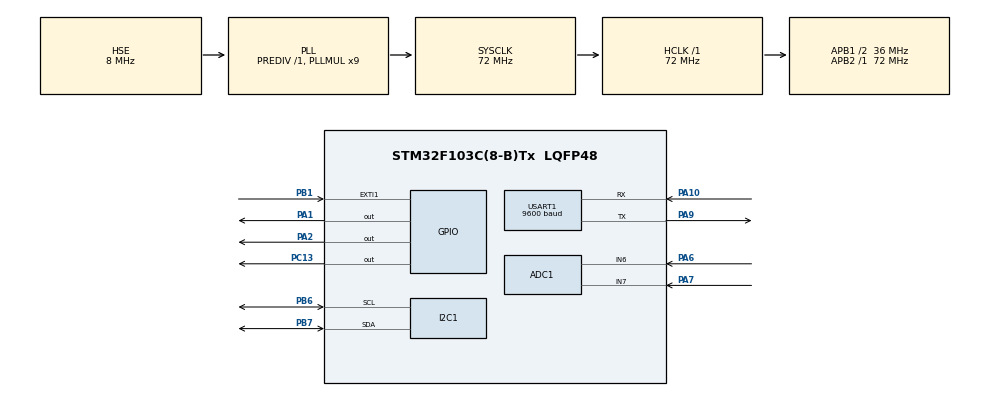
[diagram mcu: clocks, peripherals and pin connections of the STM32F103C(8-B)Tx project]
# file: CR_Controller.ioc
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ADC1.Channel-0\#ChannelRegularConversion=ADC_CHANNEL_6
ADC1.Channel-1\#ChannelRegularConversion=ADC_CHANNEL_7
ADC1.ContinuousConvMode=ENABLE
ADC1.NbrOfConversion=2
ADC1.NbrOfConversionFlag=1
ADC1.Rank-0\#ChannelRegularConversion=1
ADC1.Rank-1\#ChannelRegularConversion=2
ADC1.SamplingTime-0\#ChannelRegularConversion=ADC_SAMPLETIME_1CYCLE_5
ADC1.SamplingTime-1\#ChannelRegularConversion=ADC_SAMPLETIME_1CYCLE_5
ADC1.master=1
Dma.ADC1.0.Direction=DMA_PERIPH_TO_MEMORY
Dma.ADC1.0.Instance=DMA1_Channel1
Dma.ADC1.0.MemDataAlignment=DMA_MDATAALIGN_WORD
Dma.ADC1.0.MemInc=DMA_MINC_ENABLE
Dma.ADC1.0.Mode=DMA_CIRCULAR
Dma.ADC1.0.PeriphDataAlignment=DMA_PDATAALIGN_WORD
Dma.ADC1.0.PeriphInc=DMA_PINC_DISABLE
Dma.ADC1.0.Priority=DMA_PRIORITY_LOW
Dma.Request0=ADC1
Mcu.Family=STM32F1
Mcu.Name=STM32F103C(8-B)Tx
Mcu.Package=LQFP48
NVIC.DMA1_Channel1_IRQn=true\:0\:0\:false\:false\:true\:false\:true\:true
NVIC.EXTI1_IRQn=true\:0\:0\:false\:false\:true\:true\:true\:true
NVIC.I2C1_ER_IRQn=true\:0\:0\:false\:false\:true\:true\:true\:true
NVIC.I2C1_EV_IRQn=true\:0\:0\:false\:false\:true\:true\:true\:true
NVIC.PriorityGroup=NVIC_PRIORITYGROUP_4
NVIC.TIM2_IRQn=true\:0\:0\:false\:false\:true\:true\:true\:true
NVIC.USART1_IRQn=true\:0\:0\:false\:false\:true\:true\:true\:true
PA1.Signal=GPIO_Output
PA10.Mode=Asynchronous
PA10.Signal=USART1_RX
PA13.Mode=Serial_Wire
PA13.Signal=SYS_JTMS-SWDIO
PA14.Mode=Serial_Wire
PA14.Signal=SYS_JTCK-SWCLK
PA2.Signal=GPIO_Output
PA6.Signal=ADCx_IN6
PA7.Signal=ADCx_IN7
PA9.Mode=Asynchronous
PA9.Signal=USART1_TX
PB1.Signal=GPXTI1
PB6.Mode=I2C
PB6.Signal=I2C1_SCL
PB7.Mode=I2C
PB7.Signal=I2C1_SDA
PC13-TAMPER-RTC.Signal=GPIO_Output
PD0-OSC_IN.Mode=HSE-External-Oscillator
PD0-OSC_IN.Signal=RCC_OSC_IN
PD1-OSC_OUT.Mode=HSE-External-Oscillator
PD1-OSC_OUT.Signal=RCC_OSC_OUT
ProjectManager.HeapSize=0x200
ProjectManager.StackSize=0x400
ProjectManager.TargetToolchain=STM32CubeIDE
RCC.ADCPresc=RCC_ADCPCLK2_DIV6
RCC.AHBFreq_Value=72000000
RCC.APB1CLKDivider=RCC_HCLK_DIV2
RCC.APB1Freq_Value=36000000
RCC.APB1TimFreq_Value=72000000
RCC.APB2Freq_Value=72000000
RCC.APB2TimFreq_Value=72000000
RCC.HCLKFreq_Value=72000000
RCC.PLLMUL=RCC_PLL_MUL9
RCC.PLLSourceVirtual=RCC_PLLSOURCE_HSE
RCC.SYSCLKFreq_VALUE=72000000
RCC.SYSCLKSource=RCC_SYSCLKSOURCE_PLLCLK
RCC.USBFreq_Value=72000000
SH.ADCx_IN6.0=ADC1_IN6,IN6
SH.ADCx_IN7.0=ADC1_IN7,IN7
TIM2.AutoReloadPreload=TIM_AUTORELOAD_PRELOAD_ENABLE
TIM2.Period=7199
TIM2.Prescaler=9999
USART1.BaudRate=9600
USART1.VirtualMode=VM_ASYNC
VP_TIM2_VS_ClockSourceINT.Mode=Internal
board=custom

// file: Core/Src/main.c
/* USER CODE BEGIN Header */
/**
  ******************************************************************************
  * @file           : main.c
  * @brief          : Main program body
  ******************************************************************************
  * @attention
  *
  * Copyright (c) 2024 STMicroelectronics.
  * All rights reserved.
  *
  * This software is licensed under terms that can be found in the LICENSE file
  * in the root directory of this software component.
  * If no LICENSE file comes with this software, it is provided AS-IS.
  *
  ******************************************************************************
  */
/* USER CODE END Header */
#include "main.h"

/* USER CODE BEGIN Includes */
#include <stdio.h>
#include "Utils/DWT_Delay.h"
uint32_t previousMillis = 0;
uint32_t currentMillis = 0;
uint32_t AD_RES_BUFFER[2];
uint8_t mmm = 0;

#define SH1106_I2C_ADDR 0x3C
uint8_t buffer[1024];

/*const uint8_t font5x7[] = {
    // Definición de cada carácter en formato de 5x7 píxeles
    0x00, 0x00, 0x00, 0x00, 0x00, // espacio
    0x00, 0x00, 0x5F, 0x00, 0x00, // !
    0x00, 0x07, 0x00, 0x07, 0x00, // "
    // Agregar más caracteres según sea necesario...
};*/
const uint8_t font5x7[] = {
    // Definición de cada carácter en formato de 5x7 píxeles
    0x00, 0x00, 0x00, 0x00, 0x00, // espacio
    0x00, 0x00, 0x5F, 0x00, 0x00, // !
    0x00, 0x07, 0x00, 0x07, 0x00, // "
    0x14, 0x7F, 0x14, 0x7F, 0x14, // #
    0x24, 0x2A, 0x7F, 0x2A, 0x12, // $
    0x23, 0x13, 0x08, 0x64, 0x62, // %
    0x36, 0x49, 0x55, 0x22, 0x50, // &
    0x00, 0x05, 0x03, 0x00, 0x00, // '
    0x00, 0x1C, 0x22, 0x41, 0x00, // (
    0x00, 0x41, 0x22, 0x1C, 0x00, // )
    0x14, 0x08, 0x3E, 0x08, 0x14, // *
    0x08, 0x08, 0x3E, 0x08, 0x08, // +
    0x00, 0x50, 0x30, 0x00, 0x00, // ,
    0x08, 0x08, 0x08, 0x08, 0x08, // -
    0x00, 0x60, 0x60, 0x00, 0x00, // .
    0x20, 0x10, 0x08, 0x04, 0x02, // /
    0x3E, 0x51, 0x49, 0x45, 0x3E, // 0
    0x00, 0x42, 0x7F, 0x40, 0x00, // 1
    0x42, 0x61, 0x51, 0x49, 0x46, // 2
    0x21, 0x41, 0x45, 0x4B, 0x31, // 3
    0x18, 0x14, 0x12, 0x7F, 0x10, // 4
    0x27, 0x45, 0x45, 0x45, 0x39, // 5
    0x3C, 0x4A, 0x49, 0x49, 0x30, // 6
    0x01, 0x71, 0x09, 0x05, 0x03, // 7
    0x36, 0x49, 0x49, 0x49, 0x36, // 8
    0x06, 0x49, 0x49, 0x29, 0x1E, // 9
    0x00, 0x36, 0x36, 0x00, 0x00, // :
    0x00, 0x56, 0x36, 0x00, 0x00, // ;
    0x08, 0x14, 0x22, 0x41, 0x00, // <
    0x14, 0x14, 0x14, 0x14, 0x14, // =
    0x00, 0x41, 0x22, 0x14, 0x08, // >
    0x02, 0x01, 0x51, 0x09, 0x06, // ?
    0x32, 0x49, 0x79, 0x41, 0x3E, // @
    0x7E, 0x11, 0x11, 0x11, 0x7E, // A
    0x7F, 0x49, 0x49, 0x49, 0x36, // B
    0x3E, 0x41, 0x41, 0x41, 0x22, // C
    0x7F, 0x41, 0x41, 0x22, 0x1C, // D
    0x7F, 0x49, 0x49, 0x49, 0x41, // E
    0x7F, 0x09, 0x09, 0x09, 0x01, // F
    0x3E, 0x41, 0x49, 0x49, 0x7A, // G
    0x7F, 0x08, 0x08, 0x08, 0x7F, // H
    0x00, 0x41, 0x7F, 0x41, 0x00, // I
    0x20, 0x40, 0x41, 0x3F, 0x01, // J
    0x7F, 0x08, 0x14, 0x22, 0x41, // K
    0x7F, 0x40, 0x40, 0x40, 0x40, // L
    0x7F, 0x02, 0x04, 0x02, 0x7F, // M
    0x7F, 0x04, 0x08, 0x10, 0x7F, // N
    0x3E, 0x41, 0x41, 0x41, 0x3E, // O
    0x7F, 0x09, 0x09, 0x09, 0x06, // P
    0x3E, 0x41, 0x51, 0x21, 0x5E, // Q
    0x7F, 0x09, 0x19, 0x29, 0x46, // R
    0x46, 0x49, 0x49, 0x49, 0x31, // S
    0x01, 0x01, 0x7F, 0x01, 0x01, // T
    0x3F, 0x40, 0x40, 0x40, 0x3F, // U
    0x1F, 0x20, 0x40, 0x20, 0x1F, // V
    0x3F, 0x40, 0x38, 0x40, 0x3F, // W
    0x63, 0x14, 0x08, 0x14, 0x63, // X
    0x07, 0x08, 0x70, 0x08, 0x07, // Y
    0x61, 0x51, 0x49, 0x45, 0x43, // Z
    0x00, 0x7F, 0x41, 0x41, 0x00, // [
    0x02, 0x04, 0x08, 0x10, 0x20, // '\'
    0x00, 0x41, 0x41, 0x7F, 0x00, // ]
    0x04, 0x02, 0x01, 0x02, 0x04, // ^
    0x40, 0x40, 0x40, 0x40, 0x40, // _
    0x00, 0x01, 0x02, 0x04, 0x00, // `
    0x20, 0x54, 0x54, 0x54, 0x78, // a
    0x7F, 0x48, 0x44, 0x44, 0x38, // b
    0x38, 0x44, 0x44, 0x44, 0x20, // c
    0x38, 0x44, 0x44, 0x48, 0x7F, // d
    0x38, 0x54, 0x54, 0x54, 0x18, // e
    0x08, 0x7E, 0x09, 0x01, 0x02, // f
    0x0C, 0x52, 0x52, 0x52, 0x3E, // g
    0x7F, 0x08, 0x04, 0x04, 0x78, // h
    0x00, 0x44, 0x7D, 0x40, 0x00, // i
    0x20, 0x40, 0x44, 0x3D, 0x00, // j
    0x7F, 0x10, 0x28, 0x44, 0x00, // k
    0x00, 0x41, 0x7F, 0x40, 0x00, // l
    0x7C, 0x04, 0x18, 0x04, 0x78, // m
    0x7C, 0x08, 0x04, 0x04, 0x78, // n
    0x38, 0x44, 0x44, 0x44, 0x38, // o
    0x7C, 0x14, 0x14, 0x14, 0x08, // p
    0x08, 0x14, 0x14, 0x18, 0x7C, // q
    0x7C, 0x08, 0x04, 0x04, 0x08, // r
    0x48, 0x54, 0x54, 0x54, 0x20, // s
    0x04, 0x3F, 0x44, 0x40, 0x20, // t
    0x3C, 0x40, 0x40, 0x20, 0x7C, // u
    0x1C, 0x20, 0x40, 0x20, 0x1C, // v
    0x3C, 0x40, 0x30, 0x40, 0x3C, // w
    0x44, 0x28, 0x10, 0x28, 0x44, // x
    0x0C, 0x50, 0x50, 0x50, 0x3C, // y
    0x44, 0x64, 0x54, 0x4C, 0x44, // z
    0x00, 0x08, 0x36, 0x41, 0x00, // {
    0x00, 0x00, 0x7F, 0x00, 0x00, // |
    0x00, 0x41, 0x36, 0x08, 0x00, // }
    0x08, 0x08, 0x2A, 0x1C, 0x08, // ->
    0x08, 0x1C, 0x2A, 0x08, 0x08  // <-
};
/* USER CODE END Includes */

ADC_HandleTypeDef hadc1;
DMA_HandleTypeDef hdma_adc1;

I2C_HandleTypeDef hi2c1;

TIM_HandleTypeDef htim2;

UART_HandleTypeDef huart1;

void SystemClock_Config(void);
static void MX_GPIO_Init(void);
static void MX_DMA_Init(void);
static void MX_ADC1_Init(void);
static void MX_TIM2_Init(void);
static void MX_USART1_UART_Init(void);
static void MX_I2C1_Init(void);

int main(void)
{

  /* MCU Configuration--------------------------------------------------------*/

  /* Reset of all peripherals, Initializes the Flash interface and the Systick. */
  HAL_Init();

  /* Configure the system clock */
  SystemClock_Config();

  /* Initialize all configured peripherals */
  MX_GPIO_Init();
  MX_DMA_Init();
  MX_ADC1_Init();
  MX_TIM2_Init();
  MX_USART1_UART_Init();
  MX_I2C1_Init();
  /* USER CODE BEGIN 2 */
  DWT_Delay_Init();
  SH1106_Init();
  HAL_TIM_Base_Start_IT(&htim2);
  HAL_ADC_Start_DMA(&hadc1, AD_RES_BUFFER, 2);
  SH1106_DrawString(buffer, "Hola Mundo", 0, 0);
  SH1106_UpdateScreen(buffer);
  //SH1106_UpdateScreen(buffer); // Actualizar la pantalla
  /* USER CODE END 2 */

  /* Infinite loop */
  while (1)
  {

  }
}

void SystemClock_Config(void)
{
  RCC_OscInitTypeDef RCC_OscInitStruct = {0};
  RCC_ClkInitTypeDef RCC_ClkInitStruct = {0};
  RCC_PeriphCLKInitTypeDef PeriphClkInit = {0};

  /** Initializes the RCC Oscillators according to the specified parameters
  * in the RCC_OscInitTypeDef structure.
  */
  RCC_OscInitStruct.OscillatorType = RCC_OSCILLATORTYPE_HSE;
  RCC_OscInitStruct.HSEState = RCC_HSE_ON;
  RCC_OscInitStruct.HSEPredivValue = RCC_HSE_PREDIV_DIV1;
  RCC_OscInitStruct.HSIState = RCC_HSI_ON;
  RCC_OscInitStruct.PLL.PLLState = RCC_PLL_ON;
  RCC_OscInitStruct.PLL.PLLSource = RCC_PLLSOURCE_HSE;
  RCC_OscInitStruct.PLL.PLLMUL = RCC_PLL_MUL9;
  if (HAL_RCC_OscConfig(&RCC_OscInitStruct) != HAL_OK)
  {
    Error_Handler();
  }

  /** Initializes the CPU, AHB and APB buses clocks
  */
  RCC_ClkInitStruct.ClockType = RCC_CLOCKTYPE_HCLK|RCC_CLOCKTYPE_SYSCLK
                              |RCC_CLOCKTYPE_PCLK1|RCC_CLOCKTYPE_PCLK2;
  RCC_ClkInitStruct.SYSCLKSource = RCC_SYSCLKSOURCE_PLLCLK;
  RCC_ClkInitStruct.AHBCLKDivider = RCC_SYSCLK_DIV1;
  RCC_ClkInitStruct.APB1CLKDivider = RCC_HCLK_DIV2;
  RCC_ClkInitStruct.APB2CLKDivider = RCC_HCLK_DIV1;

  if (HAL_RCC_ClockConfig(&RCC_ClkInitStruct, FLASH_LATENCY_2) != HAL_OK)
  {
    Error_Handler();
  }
  PeriphClkInit.PeriphClockSelection = RCC_PERIPHCLK_ADC;
  PeriphClkInit.AdcClockSelection = RCC_ADCPCLK2_DIV6;
  if (HAL_RCCEx_PeriphCLKConfig(&PeriphClkInit) != HAL_OK)
  {
    Error_Handler();
  }
}

static void MX_ADC1_Init(void)
{

  ADC_ChannelConfTypeDef sConfig = {0};

  /** Common config
  */
  hadc1.Instance = ADC1;
  hadc1.Init.ScanConvMode = ADC_SCAN_ENABLE;
  hadc1.Init.ContinuousConvMode = ENABLE;
  hadc1.Init.DiscontinuousConvMode = DISABLE;
  hadc1.Init.ExternalTrigConv = ADC_SOFTWARE_START;
  hadc1.Init.DataAlign = ADC_DATAALIGN_RIGHT;
  hadc1.Init.NbrOfConversion = 2;
  if (HAL_ADC_Init(&hadc1) != HAL_OK)
  {
    Error_Handler();
  }

  /** Configure Regular Channel
  */
  sConfig.Channel = ADC_CHANNEL_6;
  sConfig.Rank = ADC_REGULAR_RANK_1;
  sConfig.SamplingTime = ADC_SAMPLETIME_1CYCLE_5;
  if (HAL_ADC_ConfigChannel(&hadc1, &sConfig) != HAL_OK)
  {
    Error_Handler();
  }

  /** Configure Regular Channel
  */
  sConfig.Channel = ADC_CHANNEL_7;
  sConfig.Rank = ADC_REGULAR_RANK_2;
  if (HAL_ADC_ConfigChannel(&hadc1, &sConfig) != HAL_OK)
  {
    Error_Handler();
  }

}

static void MX_I2C1_Init(void)
{

  hi2c1.Instance = I2C1;
  hi2c1.Init.ClockSpeed = 100000;
  hi2c1.Init.DutyCycle = I2C_DUTYCYCLE_2;
  hi2c1.Init.OwnAddress1 = 0;
  hi2c1.Init.AddressingMode = I2C_ADDRESSINGMODE_7BIT;
  hi2c1.Init.DualAddressMode = I2C_DUALADDRESS_DISABLE;
  hi2c1.Init.OwnAddress2 = 0;
  hi2c1.Init.GeneralCallMode = I2C_GENERALCALL_DISABLE;
  hi2c1.Init.NoStretchMode = I2C_NOSTRETCH_DISABLE;
  if (HAL_I2C_Init(&hi2c1) != HAL_OK)
  {
    Error_Handler();
  }

}

static void MX_TIM2_Init(void)
{

  TIM_ClockConfigTypeDef sClockSourceConfig = {0};
  TIM_MasterConfigTypeDef sMasterConfig = {0};

  htim2.Instance = TIM2;
  htim2.Init.Prescaler = 9999;
  htim2.Init.CounterMode = TIM_COUNTERMODE_UP;
  htim2.Init.Period = 7199;
  htim2.Init.ClockDivision = TIM_CLOCKDIVISION_DIV1;
  htim2.Init.AutoReloadPreload = TIM_AUTORELOAD_PRELOAD_ENABLE;
  if (HAL_TIM_Base_Init(&htim2) != HAL_OK)
  {
    Error_Handler();
  }
  sClockSourceConfig.ClockSource = TIM_CLOCKSOURCE_INTERNAL;
  if (HAL_TIM_ConfigClockSource(&htim2, &sClockSourceConfig) != HAL_OK)
  {
    Error_Handler();
  }
  sMasterConfig.MasterOutputTrigger = TIM_TRGO_RESET;
  sMasterConfig.MasterSlaveMode = TIM_MASTERSLAVEMODE_DISABLE;
  if (HAL_TIMEx_MasterConfigSynchronization(&htim2, &sMasterConfig) != HAL_OK)
  {
    Error_Handler();
  }

}

static void MX_USART1_UART_Init(void)
{

  huart1.Instance = USART1;
  huart1.Init.BaudRate = 9600;
  huart1.Init.WordLength = UART_WORDLENGTH_8B;
  huart1.Init.StopBits = UART_STOPBITS_1;
  huart1.Init.Parity = UART_PARITY_NONE;
  huart1.Init.Mode = UART_MODE_TX_RX;
  huart1.Init.HwFlowCtl = UART_HWCONTROL_NONE;
  huart1.Init.OverSampling = UART_OVERSAMPLING_16;
  if (HAL_UART_Init(&huart1) != HAL_OK)
  {
    Error_Handler();
  }

}

static void MX_DMA_Init(void)
{

  /* DMA controller clock enable */
  __HAL_RCC_DMA1_CLK_ENABLE();

  /* DMA interrupt init */
  /* DMA1_Channel1_IRQn interrupt configuration */
  HAL_NVIC_SetPriority(DMA1_Channel1_IRQn, 0, 0);
  HAL_NVIC_EnableIRQ(DMA1_Channel1_IRQn);

}

static void MX_GPIO_Init(void)
{
  GPIO_InitTypeDef GPIO_InitStruct = {0};

  /* GPIO Ports Clock Enable */
  __HAL_RCC_GPIOC_CLK_ENABLE();
  __HAL_RCC_GPIOD_CLK_ENABLE();
  __HAL_RCC_GPIOA_CLK_ENABLE();
  __HAL_RCC_GPIOB_CLK_ENABLE();

  /*Configure GPIO pin Output Level */
  HAL_GPIO_WritePin(GPIOC, GPIO_PIN_13, GPIO_PIN_RESET);

  /*Configure GPIO pin Output Level */
  HAL_GPIO_WritePin(GPIOA, GPIO_PIN_1|GPIO_PIN_2, GPIO_PIN_RESET);

  /*Configure GPIO pin : PC13 */
  GPIO_InitStruct.Pin = GPIO_PIN_13;
  GPIO_InitStruct.Mode = GPIO_MODE_OUTPUT_PP;
  GPIO_InitStruct.Pull = GPIO_NOPULL;
  GPIO_InitStruct.Speed = GPIO_SPEED_FREQ_LOW;
  HAL_GPIO_Init(GPIOC, &GPIO_InitStruct);

  /*Configure GPIO pins : PA1 PA2 */
  GPIO_InitStruct.Pin = GPIO_PIN_1|GPIO_PIN_2;
  GPIO_InitStruct.Mode = GPIO_MODE_OUTPUT_PP;
  GPIO_InitStruct.Pull = GPIO_NOPULL;
  GPIO_InitStruct.Speed = GPIO_SPEED_FREQ_LOW;
  HAL_GPIO_Init(GPIOA, &GPIO_InitStruct);

  /*Configure GPIO pin : PB1 */
  GPIO_InitStruct.Pin = GPIO_PIN_1;
  GPIO_InitStruct.Mode = GPIO_MODE_IT_RISING;
  GPIO_InitStruct.Pull = GPIO_NOPULL;
  HAL_GPIO_Init(GPIOB, &GPIO_InitStruct);

  /* EXTI interrupt init*/
  HAL_NVIC_SetPriority(EXTI1_IRQn, 0, 0);
  HAL_NVIC_EnableIRQ(EXTI1_IRQn);

}

/* USER CODE BEGIN 4 */
void HAL_GPIO_EXTI_Callback(uint16_t GPIO_Pin)
{
	currentMillis = HAL_GetTick();
	  if (GPIO_Pin == GPIO_PIN_1 && (currentMillis - previousMillis < 1))
	  {
	    //counterInside++; //For testing only
	    HAL_GPIO_TogglePin(GPIOA, GPIO_PIN_1);
	    previousMillis = currentMillis;
	  }
	//HAL_GPIO_TogglePin(GPIOA, GPIO_PIN_1);  // Cambia el estado del LED
}

void HAL_TIM_PeriodElapsedCallback(TIM_HandleTypeDef* htim)
{
	if(htim->Instance == TIM2){
		//Led: indica que el sistema está en operación :)
		HAL_GPIO_TogglePin(GPIOC, GPIO_PIN_13);
		HAL_GPIO_TogglePin(GPIOA, GPIO_PIN_2);
		/*SH1106_UpdateScreen(buffer);*/
		SH1106_DrawString(buffer, "Hola Mundo", 3, 0);
		SH1106_UpdateScreen(buffer); // Actualizar la pantalla
	}
}

void HAL_ADC_ConvCpltCallback(ADC_HandleTypeDef* hadc)
{
    TIM2->CCR1 = (AD_RES_BUFFER[0] << 4);
    TIM2->CCR2 = (AD_RES_BUFFER[1] << 4);
}

void SH1106_WriteCommand(uint8_t command) {
    uint8_t data[2] = {0x00, command}; // 0x00 para indicar que es un comando
    HAL_I2C_Master_Transmit(&hi2c1, SH1106_I2C_ADDR << 1, data, 2, HAL_MAX_DELAY);
}

void SH1106_Init(void) {
    HAL_Delay(100); // Espera por estabilidad de energía

    // Secuencia de inicialización para SH1106
    SH1106_WriteCommand(0xAE); // Display OFF (sleep mode)
    SH1106_WriteCommand(0xD5); // Set display clock divide ratio/oscillator frequency
    SH1106_WriteCommand(0x80); // Set divide ratio
    SH1106_WriteCommand(0xA8); // Set multiplex ratio
    SH1106_WriteCommand(0x3F); // 1/64 duty
    SH1106_WriteCommand(0xD3); // Set display offset
    SH1106_WriteCommand(0x00); // No offset
    SH1106_WriteCommand(0x40); // Set start line address
    SH1106_WriteCommand(0x8D); // Charge pump
    SH1106_WriteCommand(0x14); // Enable charge pump
    SH1106_WriteCommand(0x20); // Memory addressing mode
    SH1106_WriteCommand(0x00); // Horizontal addressing mode
    SH1106_WriteCommand(0xA1); // Set segment re-map
    SH1106_WriteCommand(0xC8); // COM output scan direction
    SH1106_WriteCommand(0xDA); // Set COM pins hardware configuration
    SH1106_WriteCommand(0x12);
    SH1106_WriteCommand(0x81); // Contrast control
    SH1106_WriteCommand(0x7F);
    SH1106_WriteCommand(0xD9); // Set pre-charge period
    SH1106_WriteCommand(0xF1);
    SH1106_WriteCommand(0xDB); // Set Vcomh deselect level
    SH1106_WriteCommand(0x40);
    SH1106_WriteCommand(0xA4); // Entire display ON
    SH1106_WriteCommand(0xA6); // Set normal display
    SH1106_WriteCommand(0xAF); // Display ON
}

void SH1106_UpdateScreen(uint8_t* buffer) {
    for (uint8_t page = 0; page < 8; page++) {
        SH1106_WriteCommand(0xB0 + page);    // Set page address
        SH1106_WriteCommand(0x00);           // Set lower column address
        SH1106_WriteCommand(0x10);           // Set higher column address

        HAL_I2C_Mem_Write(&hi2c1, SH1106_I2C_ADDR << 1, 0x40, 1, &buffer[128 * page], 128, HAL_MAX_DELAY);
    }
}

void SH1106_Fill(uint8_t* buffer, uint8_t fill) {
    for (uint16_t i = 0; i < 1024; i++) {
        buffer[i] = fill;
    }
}
/*void SH1106_DrawChar(uint8_t* buffer, char c, uint8_t x, uint8_t y) {
    const uint8_t width = 5;
    const uint8_t height = 7;
    const uint8_t bytesPerChar = width;

    if (c < 32 || c > 126) return; // Si el carácter no está en el rango soportado, no hacer nada

    uint8_t charIndex = c - 32; // Ajuste de índice en la tabla de fuentes

    for (uint8_t i = 0; i < bytesPerChar; i++) {
        uint8_t line = font5x7[charIndex * bytesPerChar + i];
        for (uint8_t j = 0; j < height; j++) {
            if (line & (1 << j)) {
                buffer[(x + i) + ((y + j) / 8) * 128] |= (1 << ((y + j) % 8)); // Dibujar el píxel
            } else {
                buffer[(x + i) + ((y + j) / 8) * 128] &= ~(1 << ((y + j) % 8)); // Limpiar el píxel
            }
        }
    }
}*/

void SH1106_DrawChar(uint8_t* buffer, char c, uint8_t x, uint8_t y) {
    const uint8_t width = 5;
    const uint8_t height = 7;
    const uint8_t bytesPerChar = width;

    if (c < 32 || c > 126) return; // Si el carácter no está en el rango soportado, no hacer nada

    uint8_t charIndex = c - 32; // Ajuste de índice en la tabla de fuentes

    for (uint8_t i = 0; i < bytesPerChar; i++) {
        uint8_t line = font5x7[charIndex * bytesPerChar + i];
        for (uint8_t j = 0; j < height; j++) {
            if (line & (1 << j)) {
                if ((x + i) < 128 && (y + j) < 64) { // Verificar los límites del buffer
                    buffer[(x + i) + ((y + j) / 8) * 128] |= (1 << ((y + j) % 8));
                }
            } else {
                if ((x + i) < 128 && (y + j) < 64) { // Verificar los límites del buffer
                    buffer[(x + i) + ((y + j) / 8) * 128] &= ~(1 << ((y + j) % 8));
                }
            }
        }
    }
}

void SH1106_DrawString(uint8_t* buffer, const char* str, uint8_t x, uint8_t y) {
    while (*str) {
        SH1106_DrawChar(buffer, *str, x, y);
        x += 6; // Avanzar 6 píxeles para el siguiente carácter (5 píxeles de ancho + 1 de espacio)
        str++;
    }
}

/* USER CODE END 4 */

void Error_Handler(void)
{
  __disable_irq();
  while (1)
  {
  }
}
